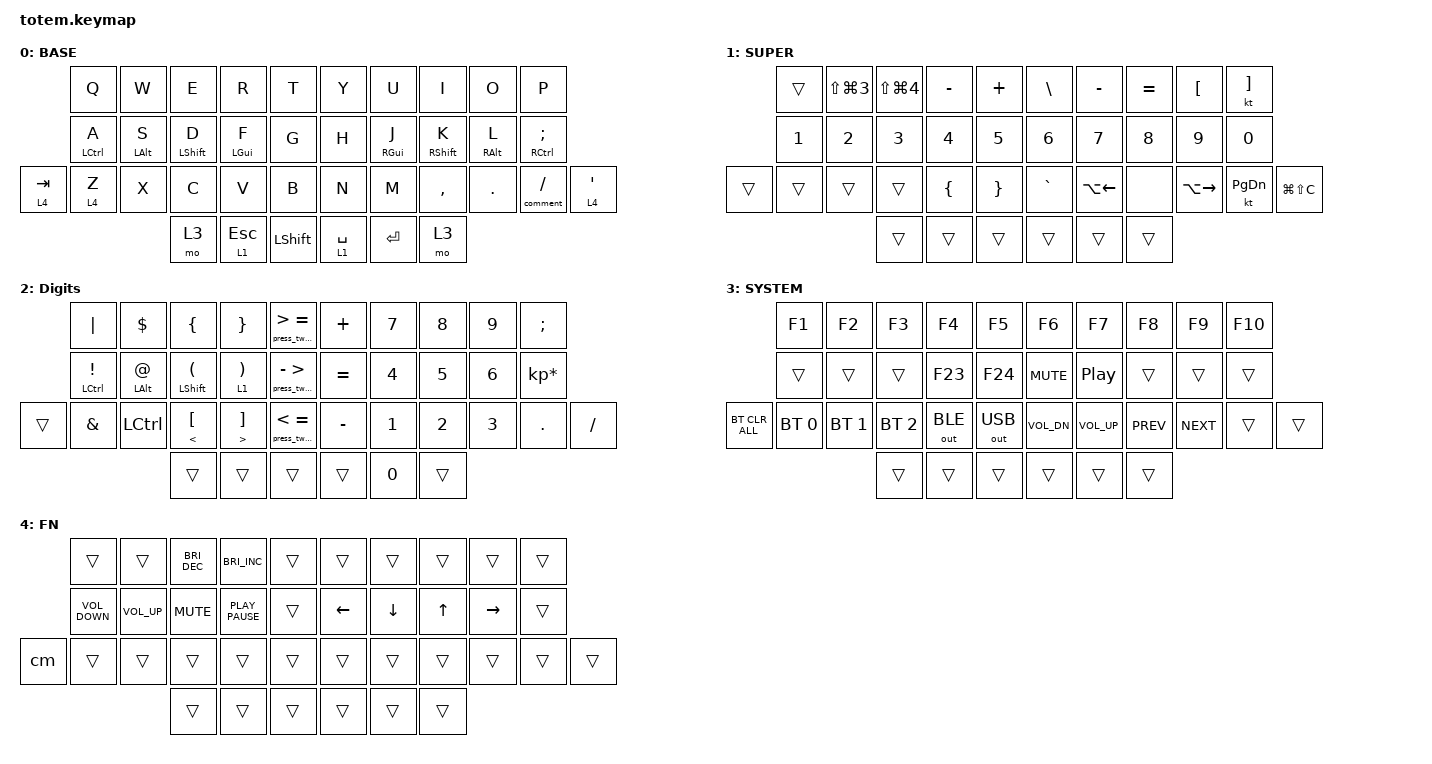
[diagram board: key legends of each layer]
//
//                                                        ▀▀▀▀▀     ▀▀▀▀▀          ▀▀█▀▀
//                                                        ▄▀▀▀▄  ▄  ▄▀▀▀▄  ▄  ▄▀▀▀▄  █  ▄▀▀▀▄
//                                                        █   █  █  █   █  █  █   █  █  █   █
//                                                         ▀▀▀   █   ▀▀▀   █   ▀▀▀   ▀   ▀▀▀
//                                                               █      ▄▄▄█▄▄▄    █   █
//                                                               ▀      █  █  █     █▄█
//                                                             ▀▀▀▀▀    █  █  █      ▀
//                                                                      ▀  ▀  ▀
//
// ▄▄▄▄▄▄▄▄▄▄▄▄▄▄▄▄▄▄▄▄▄▄▄▄▄▄▄▄▄▄▄▄▄▄▄▄▄▄▄▄▄▄▄▄▄▄▄▄▄▄▄▄▄▄▄▄▄▄▄▄▄▄▄▄▄▄▄▄▄▄▄▄▄▄▄▄▄▄▄▄▄▄▄▄▄▄▄▄▄▄▄▄▄▄▄▄▄▄▄▄▄▄▄▄▄▄▄▄▄▄▄▄▄▄▄▄▄▄▄▄▄▄▄▄▄▄▄▄▄▄▄▄▄▄▄▄▄▄▄▄▄▄▄▄▄▄▄▄▄

#include "zmk-helpers/helper.h"
#include "zmk-helpers/key-labels/totem.h"
#include <behaviors.dtsi>
#include <dt-bindings/zmk/bt.h>
#include <dt-bindings/zmk/keys.h>
#include <dt-bindings/zmk/outputs.h>

#define BASE 0
#define NAV  1
#define DIG  2
#define SYS  3
#define QUICK_TAP_MS 175

/* Timeless homerow mods */
// https://github.com/urob/zmk-config/tree/main#timeless-homerow-mods

#define KEYS_L LT0 LT1 LT2 LT3 LT4 LM0 LM1 LM2 LM3 LM4 LB0 LB1 LB2 LB3 LB4 LB5  // left hand
#define KEYS_R RT0 RT1 RT2 RT3 RT4 RM0 RM1 RM2 RM3 RM4 RB0 RB1 RB2 RB3 RB4 RB5  // right hand
#define THUMBS LH2 LH1 LH0 RH0 RH1 RH2 // thumb cluster for both hands

// proper urob's home row, uncomment it if you are not going to use visual editor
//#define MAKE_HRM(NAME, HOLD, TAP, TRIGGER_POS) \
//    ZMK_HOLD_TAP(NAME, \
//        flavor = "balanced"; \
//        tapping-term-ms = <280>; \
//        quick-tap-ms = <QUICK_TAP_MS>; \
//        require-prior-idle-ms = <150>; \
//        bindings = <HOLD>, <TAP>; \
//        hold-trigger-key-positions = <TRIGGER_POS>; \
//        hold-trigger-on-release; \
//    )
//
//MAKE_HRM(hml, &kp, &kp, KEYS_R THUMBS)  // left-hand HRMs
//MAKE_HRM(hmr, &kp, &kp, KEYS_L THUMBS)  // right-hand HRMs
//MAKE_HRM(hml_layer, &mo, &kp, KEYS_R THUMBS) // switch layer like HRM

&mt {
    quick-tap-ms = <100>;
    global-quick-tap;
    flavor = "tap-preferred";
    tapping-term-ms = <170>;
};

/ {
    combos {
        compatible = "zmk,combos";

        backspace {
            bindings = <&kp BACKSPACE>;
            key-positions = <16 17>;
            timeout-ms = <70>;
        };

        opt_backspace {
            bindings = <&kp LA(BACKSPACE)>;
            key-positions = <16 17 18>;
            timeout-ms = <70>;
        };

        shift {
            bindings = <&sk LEFT_SHIFT>;
            key-positions = <13 12>;
            timeout-ms = <100>;
        };

        caps-words {
            bindings = <&caps_word>;
            key-positions = <11 12 13>;
        };
    };

    macros {
        /**
         * Temporarily switches to a layer (`&mo`) while a modifier is held.
         * Analogous to QMK's `LM()`, using a parameterized macro.
         *
         * Params:
         *  1. Layer to switch to
         *  2. Modifier to press while layer is active
         *
         * Example:
         *  `&lm NUM_LAYER LSHIFT`
         */

        lm: lm {
            compatible = "zmk,behavior-macro-two-param";
            wait-ms = <0>;
            tap-ms = <0>;
            #binding-cells = <2>;
            bindings =
                <&macro_param_1to1>,
                <&macro_press>,
                <&mo MACRO_PLACEHOLDER &macro_param_2to1>,
                <&macro_press>,
                <&kp MACRO_PLACEHOLDER>,
                <&macro_pause_for_release>,
                <&macro_param_2to1>,
                <&macro_release>,
                <&kp MACRO_PLACEHOLDER &macro_param_1to1>,
                <&macro_release>,
                <&mo MACRO_PLACEHOLDER>;
        };

        press_two_keys: press_two_keys {
            compatible = "zmk,behavior-macro-two-param";
            wait-ms = <0>;
            tap-ms = <0>;
            #binding-cells = <2>;
            bindings =
                <&macro_param_1to1>,
                <&macro_tap>,
                <&kp MACRO_PLACEHOLDER &macro_param_2to1>,
                <&macro_tap>,
                <&kp MACRO_PLACEHOLDER>;
        };

        more_or_equal: more_or_equal {
            compatible = "zmk,behavior-macro";
            #binding-cells = <0>;
            bindings = <&kp MINUS &kp GT>;
            label = "MORE_OR_EQUAL";
        };

        less_or_equal: less_or_equal {
            compatible = "zmk,behavior-macro";
            #binding-cells = <0>;
            bindings = <&kp LT &kp EQUAL>;
            label = "LESS_OR_EQUAL";
        };

        fun_arrow_right: fun_arrow_right {
            compatible = "zmk,behavior-macro";
            #binding-cells = <0>;
            bindings = <&kp MINUS &kp GT>;
            label = "FUN_ARROW_RIGHT";
        };

        comment: comment {
            compatible = "zmk,behavior-macro";
            #binding-cells = <0>;
            bindings = <&kp FSLH &kp STAR>;
            label = "MACROS_COMMENT";
        };

        cm: cm {
            compatible = "zmk,behavior-macro";
            #binding-cells = <0>;
            bindings = <&none &kp LS(C) &kp N4 &kp M &kp A &kp PLUS &kp E &kp N &kp E &kp A &kp T &kp L &kp D &kp N2 &kp N4>;
            label = "CM";
        };
    };

    behaviors {
        // this is homerow mod that works identical to urob's one, but this one allows visual editor to understand

        hml: hml {
            compatible = "zmk,behavior-hold-tap";
            label = "HML";
            bindings = <&kp>, <&kp>;

            #binding-cells = <2>;
            tapping-term-ms = <280>;
            quick-tap-ms = <175>;
            require-prior-idle-ms = <150>;
            flavor = "balanced";
            hold-trigger-key-positions = <KEYS_R THUMBS>;
            hold-trigger-on-release;
        };

        hmr: hmr {
            compatible = "zmk,behavior-hold-tap";
            label = "HMR";
            bindings = <&kp>, <&kp>;

            #binding-cells = <2>;
            tapping-term-ms = <280>;
            quick-tap-ms = <175>;
            require-prior-idle-ms = <150>;
            flavor = "balanced";
            hold-trigger-key-positions = <KEYS_L THUMBS>;
            hold-trigger-on-release;
        };

        comment_or: comment_or {
            compatible = "zmk,behavior-hold-tap";
            label = "slash_or_comm";
            bindings = <&comment>, <&kp>;

            #binding-cells = <2>;
            tapping-term-ms = <200>;
            flavor = "tap-preferred";
        };
    };

    keymap {
        compatible = "zmk,keymap";

        QWERTY {
            label = "BASE";
            bindings = <
           &kp Q         &kp W        &kp E         &kp R            &kp T             &kp Y        &kp U             &kp I         &kp O             &kp P
           &hml LCTRL A  &hml LALT S  &hml LSHFT D  &hml LEFT_GUI F  &kp G             &kp H        &hmr RIGHT_GUI J  &hmr RSHFT K  &hmr RIGHT_ALT L  &hmr RCTRL SEMICOLON
&lt 4 TAB  &lt 4 Z       &kp X        &kp C         &kp V            &kp B             &kp N        &kp M             &kp COMMA     &kp DOT           &comment_or 0 SLASH   &lt 4 SQT
                                      &mo 3         &lt 1 ESC        &kp LEFT_SHIFT    &lt 1 SPACE  &kp ENTER         &mo 3
            >;
        };

        SUPER {
            label = "SUPER";
            bindings = <
        &trans        &kp LS(LG(NUMBER_3))  &kp LS(LG(NUMBER_4))  &kp MINUS       &kp PLUS           &kp BACKSLASH  &kp MINUS     &kp EQUAL  &kp LEFT_BRACKET  &kt RIGHT_BRACKET
        &kp NUMBER_1  &kp NUMBER_2          &kp NUMBER_3          &kp NUMBER_4    &kp N5             &kp NUMBER_6   &kp N7        &kp N8     &kp NUMBER_9      &kp N0
&trans  &trans        &trans                &trans                &kp LEFT_BRACE  &kp RIGHT_BRACE    &kp GRAVE      &kp LA(LEFT)  &none      &kp LA(RIGHT)     &kt PAGE_DOWN      &kp LG(LS(C))
                                            &trans                &trans          &trans             &trans         &trans        &trans
            >;
        };

        digits {
            label = "Digits";
            bindings = <
        &kp PIPE                &kp DOLLAR             &kp LEFT_BRACE               &kp RIGHT_BRACE                 &press_two_keys GREATER_THAN EQUAL    &kp PLUS   &kp N7  &kp N8  &kp N9  &kp SEMICOLON
        &hml LCTRL EXCLAMATION  &hml LEFT_ALT AT_SIGN  &hml LSHFT LEFT_PARENTHESIS  &lt 1 RIGHT_PARENTHESIS         &press_two_keys MINUS GREATER_THAN    &kp EQUAL  &kp N4  &kp N5  &kp N6  &kp KP_MULTIPLY
&trans  &kp AMPERSAND           &kp LCTRL              &mt LESS_THAN LEFT_BRACKET   &mt GREATER_THAN RIGHT_BRACKET  &press_two_keys LESS_THAN EQUAL       &kp MINUS  &kp N1  &kp N2  &kp N3  &kp PERIOD       &kp SLASH
                                                       &trans                       &trans                          &trans                                &trans     &kp N0  &trans
            >;
        };

        sim_layer {
            label = "SYSTEM";
            bindings = <
                &kp F1        &kp F2        &kp F3        &kp F4        &kp F5          &kp F6        &kp F7        &kp F8      &kp F9      &kp F10
                &trans        &trans        &trans        &kp F23       &kp F24         &kp C_MUTE    &kp C_PP      &trans      &trans      &trans
&bt BT_CLR_ALL  &bt BT_SEL 0  &bt BT_SEL 1  &bt BT_SEL 2  &out OUT_BLE  &out OUT_USB    &kp C_VOL_DN  &kp C_VOL_UP  &kp C_PREV  &kp C_NEXT  &trans   &trans
                                            &trans        &trans        &trans          &trans        &trans        &trans
            >;
        };

        FN {
            bindings = <
     &trans             &trans           &kp C_BRIGHTNESS_DEC  &kp C_BRIGHTNESS_INC  &trans    &trans    &trans    &trans        &trans     &trans
     &kp C_VOLUME_DOWN  &kp C_VOLUME_UP  &kp K_MUTE            &kp K_PLAY_PAUSE      &trans    &kp LEFT  &kp DOWN  &kp UP_ARROW  &kp RIGHT  &trans
&cm  &trans             &trans           &trans                &trans                &trans    &trans    &trans    &trans        &trans     &trans  &trans
                                         &trans                &trans                &trans    &trans    &trans    &trans
            >;

            label = "FN";
        };
    };
};
